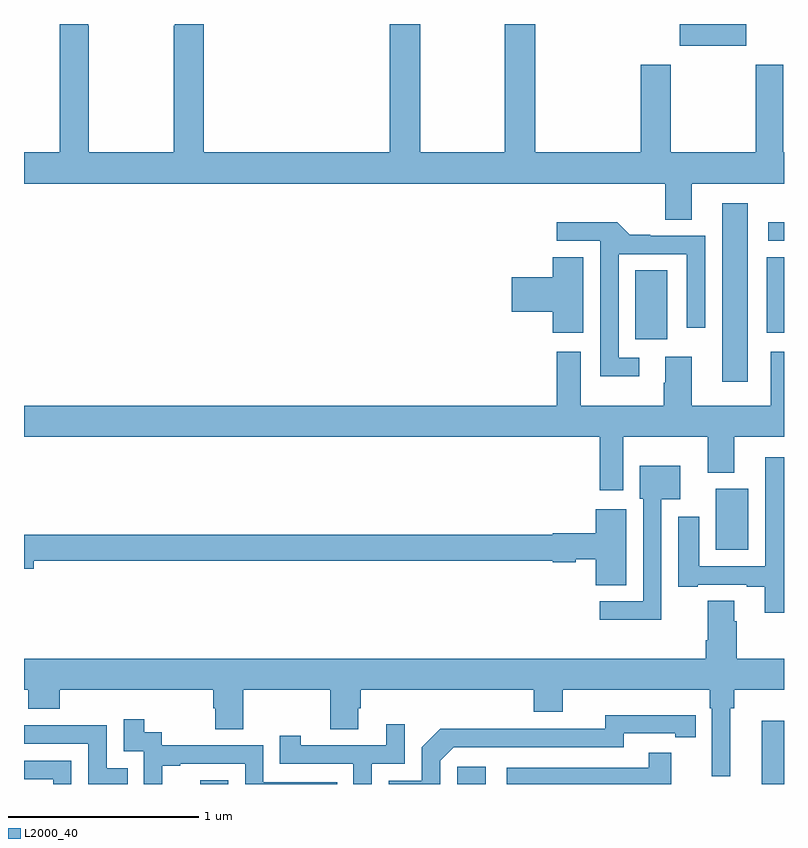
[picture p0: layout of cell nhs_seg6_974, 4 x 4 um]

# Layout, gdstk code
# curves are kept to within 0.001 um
import gdstk
lib = gdstk.Library(unit=1e-6, precision=1e-09)
def R(c, l, rs):  # rectangles x0, y0, x1, y1
    for r in rs: c.add(gdstk.rectangle(r[:2], r[2:], *l))
def P(c, l, *ps):  # polygons
    for p in ps: c.add(gdstk.Polygon(p, *l))
L2000_40 = (2000, 40)

nhs_seg6_974 = lib.new_cell('nhs_seg6_974')
R(nhs_seg6_974, L2000_40, [(171.927,953.5,172.074,953.521), (173.28,953.5,173.431,953.59), (174.884,953.5,175,953.833), (174.641,954.734,174.811,955.054), (174.674,955.617,174.808,956.557), (174.218,955.842,174.385,956.204), (174.908,955.875,175,956.273), (174.918,956.358,175,956.456), (174.452,957.386,174.802,957.5)])
P(nhs_seg6_974, L2000_40, [(171.793,957.5),(171.793,957.491),(171.787,957.491),(171.787,956.824),(171.342,956.824),(171.342,957.491),(171.339,957.491),(171.339,957.5),(171.189,957.5),(171.189,957.491),(171.187,957.491),(171.187,956.824),(171,956.824),(171,956.66),(174.374,956.66),(174.374,956.47),(174.514,956.47),(174.514,956.66),(175,956.66),(175,956.824),(174.997,956.824),(174.997,957.286),(174.85,957.286),(174.85,956.824),(174.405,956.824),(174.405,957.286),(174.245,957.286),(174.245,956.824),(173.69,956.824),(173.69,957.5),(173.53,957.5),(173.53,956.824),(173.085,956.824),(173.085,957.5),(172.925,957.5),(172.925,956.824),(171.947,956.824),(171.947,957.5)],
  [(174.238,955.743),(174.129,955.743),(174.129,956.289),(174.489,956.289),(174.489,955.902),(174.585,955.902),(174.585,956.385),(174.295,956.385),(174.295,956.39),(174.187,956.39),(174.122,956.456),(173.805,956.456),(173.805,956.358),(174.033,956.358),(174.033,955.646),(174.238,955.646)],
  [(173.944,956.273),(173.783,956.273),(173.783,956.168),(173.568,956.168),(173.568,955.985),(173.783,955.985),(173.783,955.875),(173.944,955.875)],
  [(174.514,955.75),(174.374,955.75),(174.374,955.613),(174.367,955.613),(174.367,955.492),(173.929,955.492),(173.929,955.774),(173.804,955.774),(173.804,955.492),(171,955.492),(171,955.328),(174.029,955.328),(174.029,955.047),(174.154,955.047),(174.154,955.328),(174.599,955.328),(174.599,955.139),(174.739,955.139),(174.739,955.328),(175,955.328),(175,955.774),(174.929,955.774),(174.929,955.492),(174.514,955.492)],
  [(175,955.219),(174.9,955.219),(174.9,954.645),(174.553,954.645),(174.553,954.907),(174.443,954.907),(174.443,954.537),(174.547,954.537),(174.547,954.549),(174.803,954.549),(174.803,954.537),(174.899,954.537),(174.899,954.402),(175,954.402)],
  [(174.354,954.998),(174.454,954.998),(174.454,955.174),(174.242,955.174),(174.242,955.002),(174.258,955.002),(174.258,954.462),(174.03,954.462),(174.03,954.365),(174.354,954.365)],
  [(174.169,954.946),(174.008,954.946),(174.008,954.82),(173.784,954.82),(173.784,954.812),(171,954.812),(171,954.634),(171.052,954.634),(171.052,954.676),(173.784,954.676),(173.784,954.668),(173.904,954.668),(173.904,954.683),(174.008,954.683),(174.008,954.547),(174.169,954.547)],
  [(174.718,953.9),(174.737,953.9),(174.737,953.996),(175,953.996),(175,954.16),(174.752,954.16),(174.752,954.356),(174.739,954.356),(174.739,954.464),(174.599,954.464),(174.599,954.256),(174.587,954.256),(174.587,954.16),(171,954.16),(171,953.996),(171.023,953.996),(171.023,953.897),(171.188,953.897),(171.188,953.996),(171.995,953.996),(171.995,953.898),(172.007,953.898),(172.007,953.788),(172.155,953.788),(172.155,953.996),(172.612,953.996),(172.612,953.788),(172.759,953.788),(172.759,953.898),(172.772,953.898),(172.772,953.996),(173.684,953.996),(173.684,953.879),(173.836,953.879),(173.836,953.996),(174.608,953.996),(174.608,953.9),(174.621,953.9),(174.621,953.541),(174.718,953.541)],
  [(173.19,953.622),(173.262,953.694),(174.156,953.694),(174.156,953.766),(174.428,953.766),(174.428,953.746),(174.536,953.746),(174.536,953.862),(174.06,953.863),(174.06,953.79),(173.6,953.79),(173.6,953.792),(173.192,953.792),(173.094,953.694),(173.094,953.517),(172.92,953.517),(172.92,953.5),(173.19,953.5)],
  [(171.728,953.595),(171.823,953.595),(171.823,953.607),(172.164,953.607),(172.164,953.5),(172.649,953.5),(172.649,953.508),(172.26,953.508),(172.26,953.703),(171.726,953.703),(171.726,953.772),(171.634,953.772),(171.634,953.842),(171.525,953.842),(171.525,953.673),(171.63,953.673),(171.63,953.5),(171.728,953.5)],
  [(172.83,953.607),(173.004,953.607),(173.004,953.815),(172.907,953.815),(172.907,953.703),(172.456,953.703),(172.456,953.755),(172.345,953.755),(172.345,953.607),(172.734,953.607),(172.734,953.5),(172.83,953.5)],
  [(171.545,953.583),(171.435,953.583),(171.435,953.808),(171,953.808),(171,953.712),(171.339,953.712),(171.339,953.5),(171.545,953.5)],
  [(174.407,953.665),(174.289,953.665),(174.289,953.586),(173.541,953.586),(173.541,953.5),(174.407,953.5)],
  [(171.249,953.622),(171,953.622),(171,953.526),(171.153,953.526),(171.153,953.5),(171.249,953.5)])

lib.write_gds('nhs_seg6_974.gds')
